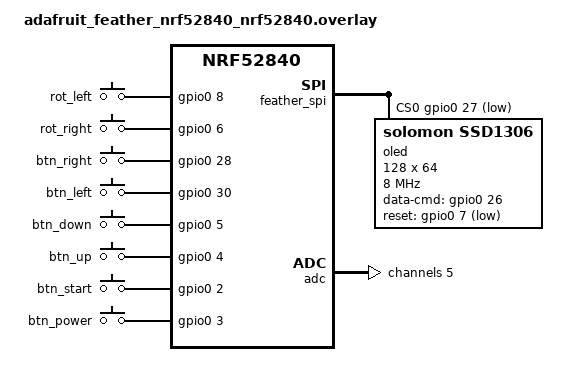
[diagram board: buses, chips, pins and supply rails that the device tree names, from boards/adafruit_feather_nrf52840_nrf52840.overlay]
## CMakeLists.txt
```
# SPDX-License-Identifier: Apache-2.0

add_custom_target(run_python_script
    COMMAND python3 sprite_factory.py
    # Sets the execution context to your subfolder
    WORKING_DIRECTORY "${CMAKE_CURRENT_SOURCE_DIR}/rsc"
    VERBATIM
)

cmake_minimum_required(VERSION 3.28.0)
find_package(Zephyr REQUIRED HINTS $ENV{ZEPHYR_BASE})
project(tetrimini)

set(gen_dir ${ZEPHYR_BINARY_DIR}/include/generated/)
generate_inc_file_for_target(app rsc/bapple.bin ${gen_dir}/bapple.bin.inc)

target_include_directories(app PRIVATE src/inc)

target_sources(app PRIVATE
  src/main.c
  src/graphics.c
  src/playfield.c
  src/sprites.c
  src/tetromino.c
  src/mediaplayer.c
)

add_dependencies(app run_python_script)
```

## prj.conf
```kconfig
CONFIG_ENTROPY_GENERATOR=y
CONFIG_XOSHIRO_RANDOM_GENERATOR=y
CONFIG_INPUT=y
CONFIG_INPUT_GPIO_KEYS=y
```

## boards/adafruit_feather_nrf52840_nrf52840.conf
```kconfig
CONFIG_DISPLAY=y
CONFIG_SPI=y
CONFIG_USE_SEGGER_RTT=y
CONFIG_LOG=y
CONFIG_LOG_BACKEND_RTT=y
CONFIG_RTT_CONSOLE=y
CONFIG_UART_CONSOLE=n
CONFIG_ADC=y
CONFIG_SENSOR=y
CONFIG_GPIO=y
CONFIG_POWEROFF=y
```

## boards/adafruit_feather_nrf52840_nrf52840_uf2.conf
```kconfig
CONFIG_DISPLAY=y
CONFIG_SPI=y
CONFIG_USE_DT_CODE_PARTITION=y
```

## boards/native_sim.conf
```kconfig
CONFIG_DISPLAY=y
CONFIG_SDL_DISPLAY_ZOOM_PCT=600
CONFIG_NATIVE_SIM_SLOWDOWN_TO_REAL_TIME=y
CONFIG_SDL_DISPLAY_MONO_VTILED=y
CONFIG_SDL_DISPLAY_MONO_MSB_FIRST=n
CONFIG_SYS_CLOCK_TICKS_PER_SEC=32768
CONFIG_UBSAN=y # for catching bugs
CONFIG_ASAN=y  # ditto
```

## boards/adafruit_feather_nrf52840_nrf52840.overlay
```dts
#include <zephyr/dt-bindings/input/input-event-codes.h> /* For input keys */

/* GPIO pinouts differ from printed names on circuit, check Adafruit's pinouts */

/ {
    chosen {
        zephyr,display = &oled;
    };

    /* Using documented gpio-keys */
    buttons {
        compatible = "gpio-keys";
        rot_left {
                gpios = <&gpio0 8 (GPIO_PULL_DOWN | GPIO_ACTIVE_HIGH)>; /* D12 */
                zephyr,code = <INPUT_BTN_X>;
        };
        rot_right {
                gpios = <&gpio0 6 (GPIO_PULL_DOWN | GPIO_ACTIVE_HIGH)>; /* D11 */
                zephyr,code = <INPUT_BTN_Y>;
        };
        btn_right {
                gpios = <&gpio0 28 (GPIO_PULL_DOWN | GPIO_ACTIVE_HIGH)>; /* A3 */
                zephyr,code = <INPUT_BTN_DPAD_RIGHT>;
        };
        btn_left {
                gpios = <&gpio0 30 (GPIO_PULL_DOWN | GPIO_ACTIVE_HIGH)>; /* A2 */
                zephyr,code = <INPUT_BTN_DPAD_LEFT>;
        };
        btn_down {
                gpios = <&gpio0 5 (GPIO_PULL_DOWN | GPIO_ACTIVE_HIGH)>; /* A1 */
                zephyr,code = <INPUT_BTN_DPAD_DOWN>;
        };
        btn_up {
                gpios = <&gpio0 4 (GPIO_PULL_DOWN | GPIO_ACTIVE_HIGH)>; /* A0 */
                zephyr,code = <INPUT_BTN_DPAD_UP>;
        };
        btn_start {
                gpios = <&gpio0 2 (GPIO_PULL_DOWN | GPIO_ACTIVE_HIGH)>; /* A4 */
                zephyr,code = <INPUT_BTN_START>;
        };
        btn_power {
                gpios = <&gpio0 3 (GPIO_PULL_DOWN | GPIO_ACTIVE_HIGH)>; /* A5 */
                zephyr,code = <INPUT_KEY_POWER>;
        };
    };
};

/* Pinouts we use come from the GPIO names in the pinout post that Adafruit made. */

&feather_spi {
    status = "okay";
    cs-gpios = <&gpio0 27 GPIO_ACTIVE_LOW>;          /* D10 */
    
    /* Built this up based on SSD1306 arduino descriptor found on ssd1306_128x64_spi.overlay */
    oled: ssd1309@0 {
        compatible = "solomon,ssd1306";
        reg = <0x0>;
        spi-max-frequency = <8000000>;
        width = <128>;
        height = <64>;
        segment-offset = <0>;
        page-offset = <0>;
        display-offset = <0>;
        multiplex-ratio = <63>;
        segment-remap;
        com-invdir;
        prechargep = <0x22>;
        data-cmd-gpios = <&gpio0 26 GPIO_ACTIVE_HIGH>;  /* D9 */
        reset-gpios = <&gpio0 7 GPIO_ACTIVE_LOW>;       /* D6 */
    };
};

&adc {
	#address-cells = <1>;
	#size-cells = <0>;

	channel@5 {
		reg = <5>;
		zephyr,gain = "ADC_GAIN_1_6";
		zephyr,reference = "ADC_REF_INTERNAL";
		zephyr,acquisition-time = <ADC_ACQ_TIME(ADC_ACQ_TIME_MICROSECONDS, 10)>;
		zephyr,input-positive = <NRF_SAADC_AIN5>; /* P0.29 = A6 = AIN5 */
		zephyr,resolution = <12>;
                zephyr,oversampling = <6>;
	};
};

&gpio0 { sense-edge-mask = <0xffffffff>; };
        
&gpio1 { sense-edge-mask = <0xffffffff>; };
```

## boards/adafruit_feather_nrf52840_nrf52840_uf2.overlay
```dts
#include <zephyr/dt-bindings/input/input-event-codes.h> /* For input keys */

/* GPIO pinouts differ from printed names on circuit, check Adafruit's pinouts */

/ {
    chosen {
        zephyr,display = &oled;
    };

    /* Using documented gpio-keys */
    buttons {
        compatible = "gpio-keys";
        rot_left {
                gpios = <&gpio0 8 (GPIO_PULL_DOWN | GPIO_ACTIVE_HIGH)>; /* D12 */
                zephyr,code = <INPUT_BTN_X>;
        };
        rot_right {
                gpios = <&gpio0 6 (GPIO_PULL_DOWN | GPIO_ACTIVE_HIGH)>; /* D11 */
                zephyr,code = <INPUT_BTN_Y>;
        };
        move_right {
                gpios = <&gpio0 28 (GPIO_PULL_DOWN | GPIO_ACTIVE_HIGH)>; /* A3 */
                zephyr,code = <INPUT_BTN_DPAD_RIGHT>;
        };
        move_left {
                gpios = <&gpio0 30 (GPIO_PULL_DOWN | GPIO_ACTIVE_HIGH)>; /* A2 */
                zephyr,code = <INPUT_BTN_DPAD_LEFT>;
        };
        move_down {
                gpios = <&gpio0 5 (GPIO_PULL_DOWN | GPIO_ACTIVE_HIGH)>; /* A1 */
                zephyr,code = <INPUT_BTN_DPAD_DOWN>;
        };
        move_up {
                gpios = <&gpio0 4 (GPIO_PULL_DOWN | GPIO_ACTIVE_HIGH)>; /* A0 */
                zephyr,code = <INPUT_BTN_DPAD_UP>;
        };
    };
};

/* To skip SoftDevices since we have our own Zephyr softdevices */

&code_partition {
    reg = <0x00001000 0x000eb000>;
};

/* Pinouts we use come from the GPIO names in the pinout post that Adafruit made. */

&feather_spi {
    status = "okay";
    cs-gpios = <&gpio0 27 GPIO_ACTIVE_LOW>;          /* D10 */
    
    /* Built this up based on SSD1306 arduino descriptor found on ssd1306_128x64_spi.overlay */
    oled: ssd1309@0 {
        compatible = "solomon,ssd1306";
        reg = <0x0>;
        spi-max-frequency = <10000000>;
        width = <128>;
        height = <64>;
        segment-offset = <0>;
        page-offset = <0>;
        display-offset = <0>;
        multiplex-ratio = <63>;
        segment-remap;
        com-invdir;
        prechargep = <0x22>;
        data-cmd-gpios = <&gpio0 26 GPIO_ACTIVE_HIGH>;  /* D9 */
        reset-gpios = <&gpio0 7 GPIO_ACTIVE_LOW>;       /* D6 */
    };
};
```

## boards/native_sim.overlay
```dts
/* Initial device tree overlay for Linux Native_Sim */

#include <zephyr/dt-bindings/display/panel.h> /* Required for SDL window simulating */
#include <zephyr/dt-bindings/input/input-event-codes.h> /* For input keys */

&gpio0 {
    ngpios = <6>;

    sdl_gpio {
        compatible = "zephyr,gpio-emul-sdl";
        /*
        O for left turn, P for right turn
        WASD for up down left right
        */
        scancodes = <18 19 7 4 22 26>;
    }; 
};

/ {
    keypad: keypad {
        compatible = "gpio-keys";
        rot_left {
                gpios = <&gpio0 0 GPIO_ACTIVE_HIGH >; /* D12 */
                zephyr,code = <INPUT_BTN_X>;
        };
        rot_right {
                gpios = <&gpio0 1 GPIO_ACTIVE_HIGH >; /* D11 */
                zephyr,code = <INPUT_BTN_Y>;
        };
        move_right {
                gpios = <&gpio0 2 GPIO_ACTIVE_HIGH >; /* A3 */
                zephyr,code = <INPUT_BTN_DPAD_RIGHT>;
        };
        move_left {
                gpios = <&gpio0 3 GPIO_ACTIVE_HIGH >; /* A2 */
                zephyr,code = <INPUT_BTN_DPAD_LEFT>;
        };
        move_down {
                gpios = <&gpio0 4 GPIO_ACTIVE_HIGH >; /* A1 */
                zephyr,code = <INPUT_BTN_DPAD_DOWN>;
        };
        move_up {
                gpios = <&gpio0 5 GPIO_ACTIVE_HIGH >; /* A0 */
                zephyr,code = <INPUT_BTN_DPAD_UP>;
        };
    };
};

&sdl_dc{
    width = <128>;
    height = <64>;
    pixel-format = <PANEL_PIXEL_FORMAT_MONO01>;
};
```

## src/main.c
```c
#include <stdio.h>                 // Printfs
#include <zephyr/kernel.h>         // Timeouts, message queues, sleep
#include <zephyr/input/input.h>    // Input callbacks
#include <zephyr/device.h>         // Voltage monitor logic
#include <zephyr/drivers/sensor.h> // Ditto
#include <hal/nrf_gpio.h>          // System power off and on
#include <zephyr/sys/poweroff.h>   // Ditto
#include <zephyr/drivers/gpio.h>   // Ditto 2
#include "graphics.h"
#include "sprites.h"
#include "tetromino.h"
#include "playfield.h"
#include "inputcodes.h"

typedef enum 
{
	screenMainMenu,
	screenGame,
	screenLowBattery,
	screenShutDown
} screen_state;

screen_state current_screen = screenMainMenu;

///////////////////////////////////////////////////////////////////////////
// INPUT CALLBACK HANDLING
///////////////////////////////////////////////////////////////////////////
// Here we define some message queue variables that are needed
///////////////////////////////////////////////////////////////////////////

char input_msgq_buffer[16 * sizeof(uint8_t)];
struct k_msgq input_msgq;

static void input_cb(struct input_event *evt, void *user_data)
{
	// Input callback elements are determined as follows, from least to most significant bit:
	// 1st bit is whether it was a key press or key release
	// 2nd, 3rd and 4th bit identify which key was pressed
	// Last bit is set to 1 to differentiate between no messages and some messages.

	uint8_t event = 0b10000000;
	uint8_t event_state = (evt->value == 1) ? 0b0 : 0b1;
	uint8_t event_key = 0b000;

	switch (evt->code) {
        case INPUT_BTN_X: // Rotate left
            event_key = 0b000;
            break;
        case INPUT_BTN_Y: // Rotate right
            event_key = 0b001;
            break;
        case INPUT_BTN_DPAD_RIGHT: // Move right
            event_key = 0b010;
            break;
        case INPUT_BTN_DPAD_LEFT: // Move left
            event_key = 0b011;
            break;
		case INPUT_BTN_DPAD_DOWN: // Begin soft drop
			event_key = 0b100;
			break;
		case INPUT_BTN_DPAD_UP: // Hard drop
			event_key = 0b101;
			break;
		case INPUT_BTN_START:
			event_key = 0b110;
			break;
		case INPUT_KEY_POWER:
		default:
			event_key = 0b111;
            break;
	}

	event |= event_state | (event_key << 1);

	while (k_msgq_put(&input_msgq, &event, K_NO_WAIT) != 0)
	{
		k_msgq_purge(&input_msgq);
	}
}

// Pop oldest message on a first-in first out system, and
// automatically shift remaining messages
// received_buf: Buffer of received messages
// buf_len: Length of buffer
// Returns most recent element if there are any
// or 0 if there are no more elements
uint8_t fetchMessage(uint8_t* received_buf, int *buf_len)
{
	if (*buf_len == 0)
	{
		return 0;
	}

	uint8_t retNum = received_buf[0];

	memmove(&received_buf[0], &received_buf[1], sizeof(uint8_t) * (*buf_len - 1));
	received_buf[*buf_len - 1] = 0;
	*buf_len = *buf_len - 1;

	return retNum;
}


///////////////////////////////////////////////////////////////////////////
// BATTERY VOLTAGE HANDLING
///////////////////////////////////////////////////////////////////////////
// Here we define mutexes and thread entry points for the voltage_sensor
///////////////////////////////////////////////////////////////////////////

#define BATTERY_THREAD_STACK_SIZE 500
#define BATTERY_THREAD_PRIORITY 5

// Battery voltages to indexed "perdec", taken from battery.h
static const int64_t battery_mv_percentages[11] = {
	3305, 3686, 3741, 3775, 3793, 3820,
	3884, 3945, 4008, 4085, 4177
};

// Battery millivoltage mutex
struct k_mutex battery_mv_mutex;
int64_t battery_mv;
uint_fast8_t battery_percent;

// Battery Level Thread Logic
extern void battery_level_thread_entrypoint(void *mv_mutex_void, void *mv_void, void * percent_void)
{
	// Convert void pointers to type-specific pointers
	struct k_mutex *mv_mutex = (struct k_mutex *) mv_mutex_void;
	int64_t *mv = (int64_t *)mv_void;
	uint_fast8_t *percent = (uint_fast8_t *)percent_void;

	/* the board dtsi defines a node at /vbatt with compatible "voltage-divider" */
	static const struct device *const vbatt = DEVICE_DT_GET(DT_PATH(vbatt));

	// Prepare voltage divider for battery voltage
	if (!device_is_ready(vbatt)) {
		printk("vbatt not ready (missing adc channel@5 in overlay?)\n");
		return;
	}

	// Permanent loop to query battery level
	while (true)
	{
		int64_t previous_mv = 0;
		uint_fast8_t previous_percentage = 0;
		int64_t new_mv = 0;
		uint_fast8_t new_percentage = 0;

		int mutex_state = k_mutex_lock(mv_mutex, K_MSEC(100));
		if (mutex_state == 0)
		{
			// Successfully locked mutex, let's average 5 readings
			previous_mv = *mv;
			previous_percentage = *percent;
			k_mutex_unlock(mv_mutex);
		}

		int successful_readings = 0;

		for (int i = 0; successful_readings < 10 && i < 20; i++)
		{
			struct sensor_value val;
			int err = sensor_sample_fetch(vbatt);

			if (!err)
			{
				err = sensor_channel_get(vbatt, SENSOR_CHAN_VOLTAGE, &val);
				if (!err) 
				{
					new_mv += sensor_value_to_milli(&val);
					successful_readings++;
				}
				else
				{
					perror("err obtaining sensor channel");
				}
			}
			else
			{
				perror("err obtaining sensor value");
			}

			k_sleep(K_MSEC(750));
		}

		if (successful_readings > 0)
		{
			new_mv /= successful_readings;
			
			if (previous_mv != 0)
			{
				new_mv = (previous_mv + new_mv) / 2;
			}
		} else 
		{
			new_mv = previous_mv;
		}

		int lower_bound_idx = -1; int64_t lower_bound = 0;
		int upper_bound_idx = -1; int64_t upper_bound = 0;

		// Get lower and upper bounds
		for (int i = 0; i <= 10; i++)
		{
			if (battery_mv_percentages[i] < new_mv)
			{
				lower_bound_idx = i;
				lower_bound = battery_mv_percentages[i];
			}
			else
			{
				upper_bound_idx = i;
				upper_bound = battery_mv_percentages[i];
				break;
			}
		}
		// Edge cases: 
		// new_mv < 0% will have lower_bound = -1 because no lower_bound exists
		if (lower_bound_idx == -1)
		{
			new_percentage = 0;
		}
		// new_mv > 100% will have upper_bound = -1 because no upper_bound exists
		else if (upper_bound_idx == -1)
		{
			new_percentage = 100;
		}
		// if we have lower AND upper bound, find percentage using geometric distance
		else
		{
			int64_t bounds = upper_bound - lower_bound;
			int64_t distance = (new_mv - lower_bound) * 10;

			new_percentage = lower_bound_idx * 10 + (distance/bounds);
		}

		if (previous_percentage != 0)
		{
			new_percentage = (previous_percentage + new_percentage) / 2;
		}

		mutex_state = k_mutex_lock(mv_mutex, K_MSEC(100));
		if (mutex_state == 0)
		{
			*mv = new_mv;
			*percent = new_percentage;
			k_mutex_unlock(mv_mutex);
		}

		k_sleep(K_SECONDS(5));
	}
}

// Get current battery level, waiting at most 2ms for mutex to be unlocked
// Returns current battery level in mv if successful, 0 otherwise.
int64_t get_battery_level(struct k_mutex *mv_mutex, int64_t *mv)
{
	int64_t mv_ret = 0;

	if (k_mutex_lock(mv_mutex, K_MSEC(2)) == 0)
	{
		mv_ret = *mv;
		k_mutex_unlock(mv_mutex);
	}

	return mv_ret;
}

// Get current battery percentage, waiting at most 2ms for mutex to be unlocked
// Returns current battery percentage if successful, 255 otherwise.
uint_fast8_t get_battery_percentage(struct k_mutex *mv_mutex, uint_fast8_t*percentage)
{
	uint_fast8_t mv_ret = 255;

	if (k_mutex_lock(mv_mutex, K_MSEC(2)) == 0)
	{
		mv_ret = *percentage;
		k_mutex_unlock(mv_mutex);
	}

	return mv_ret;
}

K_THREAD_STACK_DEFINE(battery_stack_area, BATTERY_THREAD_STACK_SIZE);
struct k_thread battery_level_thread_data;

///////////////////////////////////////////////////////////////////////////
// POWERING ON AND OFF
///////////////////////////////////////////////////////////////////////////
// This is where we handle powering the system on and off
///////////////////////////////////////////////////////////////////////////

#define WAKEUP_PIN_NUMBER 3 // A5
int64_t time_since_power_button_lifted = 0; // If it's been 1500ms since it's been let go, turn off

void trigger_poweroff(void)
{
	printk("Turning Tetromino off. Press A5 to turn it back on.");

	nrf_gpio_cfg(
		WAKEUP_PIN_NUMBER,
		NRF_GPIO_PIN_DIR_INPUT,
		NRF_GPIO_PIN_INPUT_CONNECT,
		NRF_GPIO_PIN_PULLDOWN,
		NRF_GPIO_PIN_SENSE_HIGH,
		NRF_GPIO_PIN_S0S1
	);

	printk("Shutting down.");

	k_sleep(K_MSEC(100));

	sys_poweroff();
}

///////////////////////////////////////////////////////////////////////////
// MAIN FIRMWARE LOOP
///////////////////////////////////////////////////////////////////////////
// Here we actually do our loop! Yay!!!
///////////////////////////////////////////////////////////////////////////

bool user_data [3] =
{
	false, // is user softdropping
	false, // is user holding powerdown button
	false, // ready to power off
};

INPUT_CALLBACK_DEFINE(NULL, input_cb, user_data);

int main(void)
{
	printf("Hello World! %s\n", CONFIG_BOARD_TARGET);
	
	printf("Creating message queue and mutex.\n");

	// Starting input message queue ring buffer
	k_msgq_init(&input_msgq, input_msgq_buffer, sizeof(uint8_t), 16);

	// Declaring battery millivoltage mutex
	k_mutex_init(&battery_mv_mutex);

	printf("Starting battery thread.\n");

	// Starting battery thread
	k_tid_t battery_level_tid = k_thread_create(&battery_level_thread_data, battery_stack_area,
											K_THREAD_STACK_SIZEOF(battery_stack_area),
											battery_level_thread_entrypoint,
											&battery_mv_mutex, &battery_mv, &battery_percent,
											BATTERY_THREAD_PRIORITY, 0, K_NO_WAIT);

	// Prepare display
	int display_ready = gfx_init();
	if (display_ready == -1)
	{
		printf("display not ready :(\n");
	}
	else
	{
		printf("display ready!!!\n");
	}


	// Create time management variables

	// Time since boot at the start of the frame
	int64_t frame_start_time = k_uptime_get();
	// Time since boot at the start of the previous frame
	int64_t last_frame_start_time = frame_start_time;
	int64_t delta_frame_time = 0;

	// Buffer received from the message queue in single frame
	uint8_t received_msgq_buffer[16] = {0};
	// How many messages are contained in the buffer
	int numMessagesReceived = 0;
	// Most recent messsage from buffer
	uint8_t recent_msg = 0;

	printf("Entering main loop.\n");
	while (true)
	{
		// Delta time calculations
		last_frame_start_time = frame_start_time;
		frame_start_time = k_uptime_get();
		delta_frame_time = frame_start_time - last_frame_start_time;

		// Check if we should power off system
		if (!user_data[1])
		{
			// Increase timer if we aren't pressing button
			time_since_power_button_lifted = frame_start_time;

			// Shut down if we have held button and since let go
			if (user_data[2])
			{
				gfx_shutdown();
				trigger_poweroff();
			}
		}

		// If we have held down power button, time to turn things off!
		if (frame_start_time - time_since_power_button_lifted > 1500)
		{
			user_data[2] = true;
			current_screen = screenShutDown;
		}

		// Battery info
		int64_t current_mv_64 = get_battery_level(&battery_mv_mutex, &battery_mv);
		int32_t current_mv = 0;
		if (current_mv_64 <= INT32_MAX && current_mv_64 >= INT32_MIN)
		{
			current_mv = (int32_t) current_mv_64;
		}

		uint_fast8_t current_percentage = get_battery_percentage(&battery_mv_mutex, &battery_percent);

		// Override frame
		gfx_clear();

		// Request input events from message queue
		while (k_msgq_get(&input_msgq, &(received_msgq_buffer[numMessagesReceived]), K_NO_WAIT) == 0 && numMessagesReceived < 16)
		{
			numMessagesReceived++;
		}

		// Show current screen and process inputs
		switch (current_screen)
		{
			case screenMainMenu:
				// Draw menu header
				sprite_draw_text(121,1, "TETROMINI");
				sprite_draw_text(113,1, "Press START");
				sprite_draw_text(105,1, "to play!");
				sprite_draw_text(0,1, "(c) Rose");

				sprite_draw_text(70,
					sprite_draw_number(70,
						sprite_draw_text(70,1, "Charge:"), 
					current_mv, 10),
				"mV");

				sprite_draw_text(62,
					sprite_draw_number(62,
						sprite_draw_text(62,1, "Level: "), 
					current_percentage, 10),
				"%");

				recent_msg = fetchMessage(received_msgq_buffer, &numMessagesReceived);
				while (recent_msg != 0)
				{
					switch (recent_msg)
					{
						case TTO_START_RELEASE: // Let go of start key
							playfield_init();
							current_screen = screenGame;
							recent_msg = 0;
							break;

						case TTO_POWER_PRESS:
							user_data[1] = true;
							break;

						case TTO_POWER_RELEASE:
							user_data[1] = false;
							break;
						
						default:
							break;
					}
					
					if (current_screen == screenMainMenu)
					{
						recent_msg = fetchMessage(received_msgq_buffer, &numMessagesReceived);
					}
				}
				break;

			case screenGame:
				recent_msg = fetchMessage(received_msgq_buffer, &numMessagesReceived);
				while (recent_msg != 0)
				{
					switch (recent_msg)
					{
						case TTO_ROT_LEFT_PRESS:
							playfield_rotate_current_piece(false);
							break;
						
						case TTO_ROT_RIGHT_PRESS:
							playfield_rotate_current_piece(true);
							break;

						case TTO_MOVE_LEFT_PRESS:
							playfield_move_current_piece(false);
							break;

						case TTO_MOVE_RIGHT_PRESS:
							playfield_move_current_piece(true);
							break;

						case TTO_HARD_DROP_PRESS:
							playfield_hard_drop();
							break;

						case TTO_SOFT_DROP_PRESS:
							user_data[0] = true;
							break;

						case TTO_SOFT_DROP_RELEASE:
							user_data[0] = false;
							break;

						case TTO_POWER_PRESS:
							user_data[1] = true;
							break;

						case TTO_POWER_RELEASE:
							user_data[1] = false;
							break;

						default:
							break;
					}
					
					if (current_screen == screenGame)
					{
						recent_msg = fetchMessage(received_msgq_buffer, &numMessagesReceived);
					}
				}

				// Update playfield
				playfield_tick(delta_frame_time, frame_start_time, user_data);

				// Draw current playfield
				playfield_render();

				// Draw header info
				playfield_print_header();
				break;

			case screenLowBattery:
			break;
			
			case screenShutDown:
			default:
				sprite_draw_text(121,1, "Thanks for");
				sprite_draw_text(113,1, "playing! Let");
				sprite_draw_text(105,1, "go to shutdown.");

				recent_msg = fetchMessage(received_msgq_buffer, &numMessagesReceived);
				while (recent_msg != 0)
				{
					switch (recent_msg)
					{
						case TTO_POWER_RELEASE:
							user_data[1] = false;
							break;
						
						default:
							break;
					}
					
					recent_msg = fetchMessage(received_msgq_buffer, &numMessagesReceived);
				}
				break;
			break;
		}
		
		// Draw display
		gfx_flush();

		// Wait until 17ms (~60Hz) have passed since the start of the frame
		k_timeout_t timeout_time = K_TIMEOUT_ABS_MS(frame_start_time + 17);
		k_sleep(timeout_time);
	}

	return 0;
}
```

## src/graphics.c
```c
#include "graphics.h"
#include <zephyr/drivers/display.h>

// Framebuffer. Each pixel is monochrome, so 8 consecutive pixels are bundled per byte
static uint8_t fb[GFX_W * GFX_H / 8];

// Zephyr-driven display device
static const struct device *disp = DEVICE_DT_GET(DT_CHOSEN(zephyr_display));

// Display Buffer Descriptor
static struct display_buffer_descriptor desc = {
    .buf_size = sizeof(fb),
    .width    = GFX_W,
    .height   = GFX_H,
    .pitch    = GFX_W,
};

// Initializes graphics information and frame buffer using transposed coordinate system
int  gfx_init(void)
{
    if (!device_is_ready(disp)) {
        return -1;
    }

    gfx_clear();
    gfx_flush();
    display_blanking_off(disp);
    return 0;
}

void gfx_shutdown(void)
{
    gfx_clear();
    gfx_flush();
    display_blanking_on(disp);
}

// Clears the buffer by filling it with 0s
void gfx_clear(void)
{
    memset(fb, 0, sizeof(fb)); 
}

// Specifices state of individual pixel using transposed coordinate system
// x:  x coordinate
// y:  y coordinate
// on: pixel color (black or white)
bool gfx_px(uint_fast8_t x, uint_fast8_t y, bool on)
{
    // Framebuffer y coordinate's direction inside pages is reversed.
    // As such, we need to flip the last 8 bits to properly target the bit
    if (x >= GFX_W || y >= GFX_H) return false;

    size_t idx  = (y >> 3) * GFX_W + x;   /* which page, then which column */
    uint_fast8_t bit = BIT(y & 7);           /* which row inside the page     */

    if (on) {
        fb[idx] |= bit;
    } else {
        fb[idx] &= ~bit;
    }

    return true;
}

// Draws a w-x-h unfilled rect at x and y of color on using transposed coordinate system
// x:  x coordinate
// y:  y coordinate
// w: width
// h: height
// on: pixel color (black or white)
void gfx_rect(uint_fast8_t x, uint_fast8_t y, uint_fast8_t w, uint_fast8_t h, bool on)
{
    if (w == 0 || h == 0)
    {
        return;
    }

    uint_fast8_t xpw = x + w;
    uint_fast8_t xpwm1 = x + w - 1U;
    uint_fast8_t yphm1 = y + h - 1U;

    // Horizontal lines
    for (uint_fast8_t i = x; i < xpw; i++)
    {
        gfx_px(i, y, on);
    }
    for (uint_fast8_t i = x; i < xpw; i++)
    {
        gfx_px(i, yphm1, on);
    }

    // Vertical lines
    for (uint_fast8_t j = y + 1; j < yphm1; j++)
    {
        gfx_px(x, j, on);
    }
    for (uint_fast8_t j = y + 1; j < yphm1; j++)
    {
        gfx_px(xpwm1, j, on);
    }
}

// Draws a w-x-h filled rect at x and y of color on using transposed coordinate system
// x:  x coordinate
// y:  y coordinate
// w: width
// h: height
// on: pixel color (black or white)
void gfx_fill(uint_fast8_t x, uint_fast8_t y, uint_fast8_t w, uint_fast8_t h, bool on)
{
    uint_fast8_t xpw = x + w;
    uint_fast8_t yph = y + h;

    for (uint_fast8_t i = x; i < xpw; i++)
    {
        for (uint_fast8_t j = y; j < yph; j++)
        {
            gfx_px(i,j,on);
        }
    }
}

// Flushes frame buffer to display
int  gfx_flush(void)
{
    display_write(disp, 0, 0, &desc, fb);
    return 0;
}

// Draws playfield bounds
void gfx_playfield()
{
    gfx_rect(0, 0, 112, 64, true);
}
```

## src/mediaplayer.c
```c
#include "mediaplayer.h"
#include "tinfl.c"

static const uint8_t bapple[] = {
#include "bapple.bin.inc"
};
```

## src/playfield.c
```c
#include "playfield.h"
#include <stdio.h>
#include <zephyr/random/random.h>

// We will keep track of the active playfield by borrowing bitboards from chess!!

// Given the playfield is 10x22, with only the first 18 rows visible, we need to store 220 blocks of data. 
// (row 0 needs to exist because otherwise floor collisions have the chance to underflow and undefined things happen :p sue me but not really)
// With 6 blocks, we can store a tile's blocktype, and naturally b000 means empty!
// With 10 tiles per row, this means 30 bits per row! Each row can be represented by a 32-bit int, wasting only 2 bits per row!
// As such, with 22 rows, our entire playfield takes up only 88 bytes!! RAH!!!!! EFFICIENCY!!!!!!!!!

uint32_t Playfield [22] = {0};
uint32_t Score = 0;
uint_fast8_t Level = 1;
uint32_t TotalLinesCleared = 0;
uint32_t Combo = 0;
uint32_t Timeout = 717;
uint_fast8_t seen_pieces = 0;
Tetromino nextPiece = TBlock;
Tetromino currentPiece = TBlock;
Spin currentSpinState = ZeroDeg;
uint_fast8_t pieceXPos = 7;
uint_fast8_t pieceYPos = 20;
uint_fast8_t phantomYPos = 20;
int64_t stopwatch = 0;

// Piece offset data
// This comes from the SRS page in the Tetris Wiki.
// The way pieces are represented made it such that the naturally best approach to deal with rotations
// and wall-kicks are by using offsets, since their rotations are naturally True Rotations, given their
// root on vector and rotational matrix multiplication!

// Sadly, we have to store them all explicitly to make computation easier...
int8_t JLSTZ_Offsets[40] = {
   0, 0,    0, 0,    0, 0,    0, 0,    0, 0,
   0, 0,    1, 0,    1,-1,    0, 2,    1, 2,
   0, 0,    0, 0,    0, 0,    0, 0,    0, 0,
   0, 0,   -1, 0,   -1,-1,    0, 2,   -1, 2
};

int8_t I_Offsets[40] = {
    0, 0,   -1, 0,    2, 0,   -1, 0,    2, 0,
   -1, 0,    0, 0,    0, 0,    0, 1,    0,-2,
   -1, 1,    1, 1,   -2, 1,    1, 0,   -2, 0,
    0, 1,    0, 1,    0, 1,    0,-1,    0, 2
};

// These values are either false for -1 and true for 0 (bc i can just do O_Offset[i] + 1)
// This is my way to at least save SOME space.
bool O_Offsets[8] = {
    true, true,
    true,false,
   false,false,
   false, true
};

bool checkForLineClear = false;
bool finishedCheck = false;
uint_fast8_t indexesToShift[4] = {0};

// Set state of block on bitfield based on tetrimino-coordinates
// x:          x coordinate
// y:          y coordinate
// block_type: which block to set state of based on the enum. 0 means empty!
void playfield_set_state(uint8_t x, uint8_t y, uint8_t block_type)
{
    if (x >= 10 || y >= 22 || block_type > 7) { return; }

    uint32_t newValue = block_type << (x * 3);
    uint32_t tileMask = ~(0b111 << (x * 3));
    Playfield[y] = (Playfield[y] & tileMask) + newValue;
}

// Renders active playfield
void playfield_render()
{
    // Draw playfield bounds
    gfx_playfield();

    // Draw playfield itself
    for (size_t i = 0; i < 18; i++) // Last few rows are out of view, so we don't need to go through all of them!
    {
        uint32_t PlayfieldRow = Playfield[i+1];
        for (size_t j = 0; j < 10; j++) 
        {
            uint32_t tileMask = (0b111 << (j * 3));
            uint32_t tileData = (PlayfieldRow & tileMask) >> (j * 3);
            uint_fast8_t blockStyle = tileData & 0b111;
            sprite_draw_block(j, i, blockStyle);
        }
    }

    // Draw phatom tetromino
    tetromino_draw_phantom(pieceXPos, phantomYPos - 1, currentPiece, currentSpinState);

    // Draw current tetromino
    tetromino_draw(pieceXPos, pieceYPos - 1, currentPiece, currentSpinState);
}

// Renders current info (score, level, next piece)
void playfield_print_header()
{
    sprite_draw_text(121, 1, "Score:");
    sprite_draw_number(121, 29, Score, 10);
	sprite_draw_text(113, 1, "Lvl:");
    sprite_draw_number(113, 18, Level, 10);
	sprite_draw_text(113, 34, "Next:");
    sprite_draw(70 + ((int)nextPiece), 113, 57);
}

// Pull a random tetromino from the bag
Tetromino playfield_get_new_piece()
{
    bool foundPiece = false;
    Tetromino piece = TBlock;

    if (seen_pieces == 0b1111111)
    {
        // We've seen all pieces, let's refresh bag
        seen_pieces = 0;
    }

    while (!foundPiece)
    {
        uint_fast8_t rand = sys_rand8_get() & 0b1111111;

        // Filter out pieces we've seen
        rand &= ~seen_pieces;

        if (rand != 0 && rand != 0b10000000)
        {
            for (int i = 0; i < 8; i++)
            {
                uint_fast8_t pieceCheckIndex = 1U << i;
                if ((rand & pieceCheckIndex) != 0)
                {
                    foundPiece = true;
                    piece = (Tetromino)(i+1);
                    seen_pieces |= pieceCheckIndex;
                    break;
                }
            }
        }
    }

    return piece;
}

// Check for collision of a hypothetical tetromino
// block_type: Which block to check a collision for
// spin_state: What spin state to check it in
// x:          What x coordinate it is in
// y:          What y coordinate it is in
// Returns true if collision happens
bool playfield_check_collision(Tetromino block_type, Spin spin_state, uint_fast8_t x, uint_fast8_t y)
{
    uint8_t Coordinates[8] = {0};
    
    tetromino_get_positions(x, y, block_type, spin_state, Coordinates);

    // Simpler collision: colliding with walls (horizontally or bottom)
    for (int i = 0; i < 8; i++)
    {
        if ((i & 1) == 0) // Checking x (i is even)
        {
            if (Coordinates[i] >= 10)
            {
                return true;
            }
        }
        else // Checking y (i is odd)
        {
            if (Coordinates[i] == 0)
            {
                return true;
            }
        }
    }

    // Harder collision: colliding with existing playfields
    // Transform x and y array into array coordinates

    for (int i = 0; i < 8; i+=2)
    {
        // Check if coordinate we're looking at is set to occupied

        size_t y = Coordinates[i+1];
        uint8_t x = Coordinates[i];

        uint32_t rowToCheck = Playfield[y];
        uint32_t tileMask = (0b111 << (x * 3));

        if ((rowToCheck & tileMask) != 0)
        {
            return true;
        }
    }

    // No collisions here!
    return false;
}

// Rotate tetromino left or right
// right: true to rotate right, false to rotate left
void playfield_rotate_current_piece(bool right)
{
    Spin desiredSpinState = currentSpinState;

    switch (currentSpinState)
    {
        case ZeroDeg:
            desiredSpinState = right ? TwoSeventyDeg : NinetyDeg;
            break;

        case TwoSeventyDeg:
            desiredSpinState = right ? OneEightyDeg : ZeroDeg;
            break;

        case OneEightyDeg:
            desiredSpinState = right ? NinetyDeg : TwoSeventyDeg;
            break;

        default:
        case NinetyDeg:
            desiredSpinState = right ? ZeroDeg : OneEightyDeg;
            break;
    }

    // Wall kick detection logic
    if (currentPiece == OBlock)
    {
        int_fast8_t targXKick = O_Offsets[desiredSpinState*2 + 0] + 1; int_fast8_t targYKick = O_Offsets[desiredSpinState*2 + 1] + 1;
        int_fast8_t prevXKick = O_Offsets[currentSpinState*2 + 0] + 1; int_fast8_t prevYKick = O_Offsets[currentSpinState*2 + 1] + 1;

        pieceXPos += prevXKick - targXKick;
        pieceYPos += prevYKick - targYKick;
        currentSpinState = desiredSpinState;
        playfield_update_phantom();
    }
    else
    {
        int8_t* referenceTable = currentPiece == IBlock ? I_Offsets : JLSTZ_Offsets;
        
        for (int i = 0; i < 10; i+=2)
        {
            int_fast8_t prevXKick = referenceTable[currentSpinState*10 + i]; int_fast8_t prevYKick = referenceTable[currentSpinState*10 + i + 1];
            int_fast8_t targXKick = referenceTable[desiredSpinState*10 + i]; int_fast8_t targYKick = referenceTable[desiredSpinState*10 + i + 1];

            bool willItCollide = playfield_check_collision(currentPiece, desiredSpinState, pieceXPos + (prevXKick - targXKick), pieceYPos + (prevYKick - targYKick));
            if (!willItCollide)
            {
                pieceXPos += prevXKick - targXKick;
                pieceYPos += prevYKick - targYKick;
                currentSpinState = desiredSpinState;
                playfield_update_phantom();
                break;
            }
        }
    }
}

// Move tetromino right or left
// right: true to rotate right, false to rotate left
void playfield_move_current_piece(bool right)
{
    bool willItCollide = playfield_check_collision(currentPiece, currentSpinState, pieceXPos + (right ? 1 : -1), pieceYPos);
    if (!willItCollide)
    {
        pieceXPos += right ? 1 : -1;
        playfield_update_phantom();
    }
}

// Logic to handle transferring pieces from currentPiece to playfield
void playfield_finish_drop()
{
    // Set playfield to have new blocks
    uint8_t Coordinates[8] = {0};

    // Retrieve current tetromino block positions
    tetromino_get_positions(pieceXPos, pieceYPos, currentPiece, currentSpinState, Coordinates);

    // Set these blocks to be active in their respective color
    for (int i = 0; i < 8; i+=2)
    {
        playfield_set_state(Coordinates[i], Coordinates[i+1], currentPiece);
    }

    currentPiece = nextPiece;
    currentSpinState = ZeroDeg;
    pieceYPos = 20;
    if (currentPiece == OBlock)
    {
        pieceXPos = 5;
    }
    else
    {
        pieceXPos = 4;
    }
    nextPiece = playfield_get_new_piece();

    checkForLineClear = true;

    playfield_update_phantom();
}

// Soft drop piece
void playfield_soft_drop()
{
    bool willItCollide = playfield_check_collision(currentPiece, currentSpinState, pieceXPos, pieceYPos - 1);
        
    if (!willItCollide)
    {
        pieceYPos--;
    }
    else
    {
        playfield_finish_drop();
    }
}

// Hard drop piece to phantom position
void playfield_hard_drop()
{
    pieceYPos = phantomYPos;
    playfield_finish_drop();
}

// Update phantom tetromino Y Pos
void playfield_update_phantom()
{
    for (int y = pieceYPos; y > 0; y--)
    {
        bool willItCollide = playfield_check_collision(currentPiece, currentSpinState, pieceXPos, y - 1);
        
        if (willItCollide)
        {
            phantomYPos = y;
            break;
        }
    }
}

// Initializes playfield variables
void playfield_init()
{
    // Initialize us at a random state of seen pieces
    seen_pieces = sys_rand8_get() & 0b1111111;

    // Empty out playing field
    memset(Playfield, 0, 22*sizeof(uint32_t));
    
    currentPiece = playfield_get_new_piece();
    nextPiece = playfield_get_new_piece();
    pieceXPos = 4;
    pieceYPos = 20;
    Score = 0;
    Level = 1;
    TotalLinesCleared = 0;
    Combo = 0;
    Timeout = 717;
    playfield_update_phantom();
}

// Update current playfield status
// delta_time: how much time passed since last frame
// elapsed_time: how much time passed since boot
void playfield_tick(int64_t delta_time, int64_t elapsed_time, bool *user_data)
{
    if (elapsed_time == 0)
    {
        return;
    }

    if (!user_data[0])
    {
        if (elapsed_time - stopwatch > Timeout && !checkForLineClear)
        {
            playfield_soft_drop();
            stopwatch = elapsed_time;
        }
    }
    else
    {
        uint32_t interval = (pieceYPos != phantomYPos) ? (Timeout >> 2) : Timeout;
        if (elapsed_time - stopwatch > interval && !checkForLineClear)
        {
            playfield_soft_drop();
            stopwatch = elapsed_time;
        }
    }

    if (checkForLineClear && !finishedCheck)
    {
        // clear indexes to shift
        memset(indexesToShift, 0, sizeof(indexesToShift));
        uint_fast8_t linesCleared = 0;

        for (int i = 0; i < 22; i++)
        {
            bool wholeLineOccupied = true;
            uint32_t PlayfieldRow = Playfield[i];

            for (int j = 0; j < 10; j++)
            {
                uint32_t tileMask = (0b111 << (j * 3));
                
                wholeLineOccupied &= ((PlayfieldRow & tileMask) != 0);
                
                if (!wholeLineOccupied)
                {
                    // Let's skip to next line
                    break;
                }

                if (wholeLineOccupied && j == 9)
                {
                    // WE HAVE A LINE CLEAR!
                    indexesToShift[linesCleared] = i - linesCleared; // <- we have to remember that the line in question will be 1 row down when prev line is cleared
                    linesCleared += 1;
                    stopwatch = elapsed_time;
                }
            }
        }

        checkForLineClear = (linesCleared != 0);

        if (checkForLineClear)
        {
            switch (linesCleared)
            {
                case 1:
                    Score += 100 * Level;
                    break;
                case 2:
                    Score += 400 * Level;
                    break;
                case 3:
                    Score += 900 * Level;
                    break;
                case 4:
                    Score += 1600 * Level;
                    break;
                default:
                    break;
            }

            Score += 50 * Combo * Level;

            TotalLinesCleared += linesCleared * linesCleared;

            while (TotalLinesCleared > Level * 10)
            {
                TotalLinesCleared -= Level * 10;
                Level++;
                if (Level <= 8)
                {
                    Timeout -= 83;
                }
                else if (Level == 9)
                {
                    Timeout -= 33;
                }
                else if (Level == 10)
                {
                    Timeout -= 17;
                }
                else if (Level <= 19)
                {
                    Timeout -= 5;
                }
                else if (Level <= 28)
                {
                    Timeout -= 2;
                }
            }

            Combo++;
        }
        finishedCheck = true;
    }
    else if (checkForLineClear && finishedCheck)
    {
        // Translate occupied lines one row down using memmove!
        // We are only at most clearing 4 lines at a time, so the translation array will only
        // have to look at a depth of 4. Unused spaces are labeled as 0, so when we find a 0,
        // we stop.

        for (int i = 0; i < 4; i++)
        {
            uint_fast8_t index = indexesToShift[i];
            if (index == 0)
            {
                break;
            }
            
            // Overlap-safe version of memcpy!
            memmove(&Playfield[index], &Playfield[index+1], sizeof(uint32_t)*(21-index));
            Playfield[21] = 0;
        }

        checkForLineClear = false;
        finishedCheck = false;
    }
    else if (!checkForLineClear && finishedCheck)
    {
        finishedCheck = false;
    }
}
```

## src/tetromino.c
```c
#include "tetromino.h"
#include "sprites.h"

// Determines the x and y positions of all four blocks of a tetromino
// x:          x coordinate
// y:          y coordinate
// block_type: which block to draw
// spin_state: how the block is spinning
// positions:  8-long array of coordinates
void tetromino_get_positions(uint_fast8_t x, uint_fast8_t y, Tetromino block_type, Spin spin_state, uint8_t *positions)
{
    positions[0] = x; positions[1] = y;

    // The following approach was developed as an attempt to speed up calculating
    // shifted vectors based on a rotation matrix! The math is really really
    // unintuitive but it works kinda! Miiiight be subject to change if it turns out
    // to not actually work haha.

    // Taken from spin state
    uint_fast8_t flip = spin_state & 1;
    uint_fast8_t negate = spin_state & 2;

    // n ^ flip means we want n when not flipped and ~n when flipped
    // (1 - negate) means we want *1 when not negated and *-1 when negated
    // (-1 + negate) means we want *-1 when not negated and *1 when negated

    // Subdirections for going above central block based on spin state
    uint_fast8_t dir_up_x = (0 ^ flip) * ( 1 - negate);
    uint_fast8_t dir_up_y = (1 ^ flip) * ( 1 - negate);

    // Subdirections for going below central block based on spin state
    // these ones arent used but let's keep it here just in case
    // int8_t dir_down_x = (0 ^ flip) * (-1 + negate);
    // int8_t dir_down_y = (1 ^ flip) * (-1 + negate);

    // Subdirections for going left of central block based on spin state
    uint_fast8_t dir_left_x = (1 ^ flip) * (-1 + negate);
    uint_fast8_t dir_left_y = (0 ^ flip) * ( 1 - negate);
    
    // Subdirections for going right of central block based on spin state
    uint_fast8_t dir_right_x = (1 ^ flip) * ( 1 - negate);
    uint_fast8_t dir_right_y = (0 ^ flip) * (-1 + negate);

    switch (block_type)
    {
        case TBlock:
            positions[2] = x + dir_up_x;               positions[3] = y + dir_up_y;
            positions[4] = x + dir_left_x;             positions[5] = y + dir_left_y;
            positions[6] = x + dir_right_x;            positions[7] = y + dir_right_y;
            break;
            
        case IBlock:
            positions[2] = x + dir_left_x;                positions[3] = y + dir_left_y;
            positions[4] = x + dir_right_x;               positions[5] = y + dir_right_y;
            positions[6] = x + dir_right_x + dir_right_x; positions[7] = y + dir_right_y + dir_right_y;
            break;
            
        case OBlock:
            positions[2] = x + dir_up_x;               positions[3] = y + dir_up_y;
            positions[4] = x + dir_right_x;            positions[5] = y + dir_right_y;
            positions[6] = x + dir_up_x + dir_right_x; positions[7] = y + dir_up_y + dir_right_y;
            break;

        case SBlock:
            positions[2] = x + dir_up_x;               positions[3] = y + dir_up_y;
            positions[4] = x + dir_left_x;             positions[5] = y + dir_left_y;
            positions[6] = x + dir_up_x + dir_right_x; positions[7] = y + dir_up_y + dir_right_y;
            break;

        case ZBlock:
            positions[2] = x + dir_up_x;               positions[3] = y + dir_up_y;
            positions[4] = x + dir_right_x;            positions[5] = y + dir_right_y;
            positions[6] = x + dir_up_x + dir_left_x;  positions[7] = y + dir_up_y + dir_left_y;
            break;

        case JBlock:
            positions[2] = x + dir_left_x;             positions[3] = y + dir_left_y;
            positions[4] = x + dir_right_x;            positions[5] = y + dir_right_y;
            positions[6] = x + dir_up_x + dir_left_x;  positions[7] = y + dir_up_y + dir_left_y;
            break;

        case LBlock:
            default:
            positions[2] = x + dir_left_x;             positions[3] = y + dir_left_y;
            positions[4] = x + dir_right_x;            positions[5] = y + dir_right_y;
            positions[6] = x + dir_up_x + dir_right_x; positions[7] = y + dir_up_y + dir_right_y;
            break;

    }
}

// Draws tetrimino with the central block at (x,y) using tetrimino coordinate system
// x:          x coordinate
// y:          y coordinate
// block_type: which block to draw
// spin_state: how the block is spinning
bool tetromino_draw(uint_fast8_t x, uint_fast8_t y, Tetromino block_type, Spin spin_state)
{
    bool OutOfBounds = false;
    uint8_t Coordinates[8] = {0};

    tetromino_get_positions(x, y, block_type, spin_state, Coordinates);

    OutOfBounds |= sprite_draw_block(Coordinates[0], Coordinates[1], block_type);
    OutOfBounds |= sprite_draw_block(Coordinates[2], Coordinates[3], block_type);
    OutOfBounds |= sprite_draw_block(Coordinates[4], Coordinates[5], block_type);
    OutOfBounds |= sprite_draw_block(Coordinates[6], Coordinates[7], block_type);

    return OutOfBounds;
}

// Draws phantom tetrimino with the central block at (x,y) using tetrimino coordinate system
// x:          x coordinate
// y:          y coordinate
// block_type: which block to draw
// spin_state: how the block is spinning
bool tetromino_draw_phantom(uint_fast8_t x, uint_fast8_t y, Tetromino block_type, Spin spin_state)
{
    bool OutOfBounds = false;
    uint8_t Coordinates[8] = {0};

    tetromino_get_positions(x, y, block_type, spin_state, Coordinates);

    for (int i = 0; i < 8; i += 2)
    {
        uint_fast8_t x = Coordinates[i];
        uint_fast8_t y = Coordinates[i+1];

        if (x >= 10 || y >= 18 || block_type > 7) { OutOfBounds = true; continue; }

        sprite_draw(104, y*6 + 2, x*6 + 2);
    }

    return OutOfBounds;
}
```
